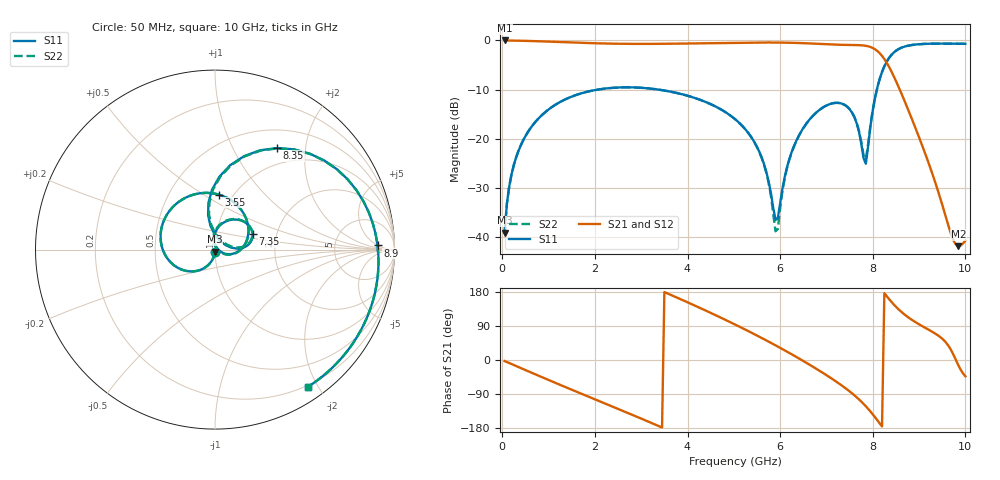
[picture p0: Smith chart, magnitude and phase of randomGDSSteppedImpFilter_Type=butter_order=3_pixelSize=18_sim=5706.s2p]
! freq	dB(S11)	phase(S11)	dB(S12)	phase(S12)
!  dB(S21)	phase(S21)	dB(S22)	phase(S22)
!S-par simulation data
#  GHz  S  DB  R 50
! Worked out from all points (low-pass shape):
!   200 points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, 50 MHz to 10 GHz, reference 50 ohm
!   highest |S21| = -0.01 dB at 50 MHz (marker M1); lowest = -41.8 dB at 9.85 GHz (marker M2)
!   |S21| within 3 dB of the highest: start of sweep to 8.188 GHz
!   lowest |S11| = -39.1 dB at 50 MHz (marker M3), VSWR 1.02, Z = 50 - j1.11 ohm
!   |S11| at or under -10 dB: start of sweep to 2.052 GHz; 3.385 GHz to 8.089 GHz (4.704 GHz wide, 82 % of centre)
!   |S22| runs from -39.1 to -0.6 dB; largest |S21 - S12| = 0
!   S11 on the Smith chart (normalised r, x): 50 MHz: 1.00, -0.02; 3.55 GHz: 0.86, +0.58; 7.35 GHz: 1.50, +0.27; 8.35 GHz: 0.75, +1.51; 8.9 GHz: 19, +5; 10 GHz: 0.18, -1.87
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0.05  -39.06 -91.9  -0.01 -2.7  -0.01 -2.7  -39.06 -91.9
0.2  -27.17 -100.8  -0.03 -10.7  -0.03 -10.7  -27.17 -100.8
0.5  -19.43 -117.1  -0.09 -26.6  -0.09 -26.6  -19.43 -117.1
1.75  -10.62 178.1  -0.50 -91.1  -0.50 -91.1  -10.62 178.1
2.5  -9.56 140.3  -0.67 -129.0  -0.67 -129.0  -9.56 140.3
3.4  -10.02 94.1  -0.69 -175.5  -0.69 -175.5  -10.02 94.0
3.55  -10.25 86.3  -0.68 176.6  -0.68 176.6  -10.25 86.1
4.25  -11.98 48.8  -0.59 138.5  -0.59 138.5  -11.99 48.5
5.05  -16.17 4.8  -0.47 92.2  -0.47 92.2  -16.18 3.9
5.6  -23.74 -21.6  -0.42 58.2  -0.42 58.2  -23.82 -24.6
5.9  -36.44 22.2  -0.42 38.8  -0.42 38.8  -38.74 17.6
6.2  -24.03 94.8  -0.47 18.5  -0.47 18.5  -24.15 98.8
6.7  -15.37 68.2  -0.64 -17.2  -0.64 -17.2  -15.38 69.9
7.35  -12.90 22.0  -0.90 -69.0  -0.90 -69.0  -12.89 23.5
7.6  -15.52 4.9  -0.93 -92.8  -0.93 -92.8  -15.47 7.0
7.85  -25.05 60.8  -1.09 -122.0  -1.09 -122.0  -24.12 60.3
8.05  -11.61 98.0  -1.80 -151.1  -1.80 -151.1  -11.54 96.8
8.35  -3.57 58.6  -5.35 161.0  -5.35 161.0  -3.56 58.2
8.6  -1.55 28.0  -10.36 128.8  -10.36 128.8  -1.55 27.8
8.9  -0.86 1.4  -17.26 101.5  -17.26 101.5  -0.86 1.3
9.85  -0.67 -49.7  -41.77 -14.3  -41.77 -14.3  -0.67 -49.8
10  -0.69 -55.8  -40.65 -43.0  -40.65 -43.0  -0.69 -55.9
